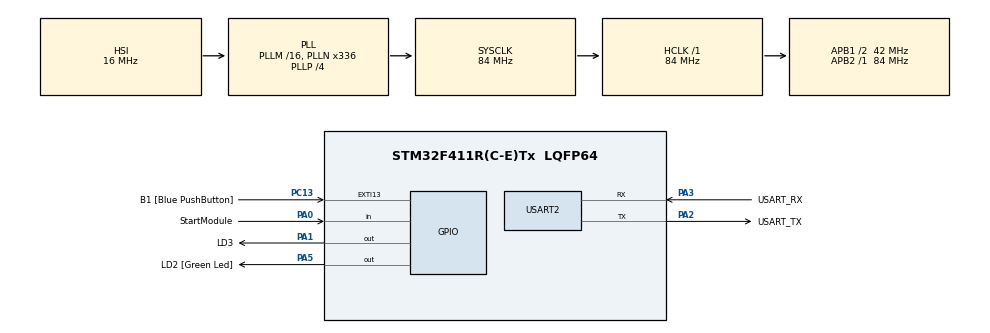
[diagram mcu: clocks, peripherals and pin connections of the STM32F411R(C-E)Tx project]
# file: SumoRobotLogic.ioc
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Mcu.Family=STM32F4
Mcu.Name=STM32F411R(C-E)Tx
Mcu.Package=LQFP64
NVIC.PriorityGroup=NVIC_PRIORITYGROUP_0
PA0-WKUP.GPIO_Label=StartModule
PA0-WKUP.GPIO_PuPd=GPIO_PULLDOWN
PA0-WKUP.Signal=GPIO_Input
PA1.GPIO_Label=LD3
PA1.GPIO_PuPd=GPIO_NOPULL
PA1.Signal=GPIO_Output
PA13.GPIO_Label=TMS
PA13.Mode=Serial_Wire
PA13.Signal=SYS_JTMS-SWDIO
PA14.GPIO_Label=TCK
PA14.Mode=Serial_Wire
PA14.Signal=SYS_JTCK-SWCLK
PA2.GPIO_Label=USART_TX
PA2.Mode=Asynchronous
PA2.Signal=USART2_TX
PA3.GPIO_Label=USART_RX
PA3.Mode=Asynchronous
PA3.Signal=USART2_RX
PA5.GPIO_Label=LD2 [Green Led]
PA5.Signal=GPIO_Output
PB3.GPIO_Label=SWO
PB3.Signal=SYS_JTDO-SWO
PC13-ANTI_TAMP.GPIO_Label=B1 [Blue PushButton]
PC13-ANTI_TAMP.GPIO_ModeDefaultEXTI=GPIO_MODE_IT_FALLING
PC13-ANTI_TAMP.Signal=GPXTI13
PC14-OSC32_IN.Mode=LSE-External-Oscillator
PC14-OSC32_IN.Signal=RCC_OSC32_IN
PC15-OSC32_OUT.Mode=LSE-External-Oscillator
PC15-OSC32_OUT.Signal=RCC_OSC32_OUT
PH0\ -\ OSC_IN.Mode=HSE-External-Clock-Source
PH0\ -\ OSC_IN.Signal=RCC_OSC_IN
PH1\ -\ OSC_OUT.Mode=HSE-External-Clock-Source
PH1\ -\ OSC_OUT.Signal=RCC_OSC_OUT
ProjectManager.HeapSize=0x200
ProjectManager.StackSize=0x400
ProjectManager.TargetToolchain=STM32CubeIDE
RCC.48MHZClocksFreq_Value=84000000
RCC.AHBFreq_Value=84000000
RCC.APB1CLKDivider=RCC_HCLK_DIV2
RCC.APB1Freq_Value=42000000
RCC.APB1TimFreq_Value=84000000
RCC.APB2Freq_Value=84000000
RCC.APB2TimFreq_Value=84000000
RCC.CortexFreq_Value=84000000
RCC.FLatency-AdvancedSettings=FLASH_LATENCY_2
RCC.HCLKFreq_Value=84000000
RCC.HSE_VALUE=8000000
RCC.HSI_VALUE=16000000
RCC.PLLN=336
RCC.PLLP=RCC_PLLP_DIV4
RCC.SYSCLKFreq_VALUE=84000000
RCC.SYSCLKSource=RCC_SYSCLKSOURCE_PLLCLK
RCC.VCOOutputFreq_Value=336000000
USART2.VirtualMode=VM_ASYNC
board=NUCLEO-F411RE

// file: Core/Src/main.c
/* USER CODE BEGIN Header */
/**
  ******************************************************************************
  * @file           : main.c
  * @brief          : Main program body
  ******************************************************************************
  * @attention
  *
  * Copyright (c) 2026 STMicroelectronics.
  * All rights reserved.
  *
  * This software is licensed under terms that can be found in the LICENSE file
  * in the root directory of this software component.
  * If no LICENSE file comes with this software, it is provided AS-IS.
  *
  ******************************************************************************
  */
/* USER CODE END Header */
#include "main.h"
#include "usart.h"
#include "gpio.h"

/* USER CODE BEGIN Includes */
#include <StartModule.h>
/* USER CODE END Includes */

/* USER CODE BEGIN PV */
StartModule_t StartModule;
uint32_t TimerDebounce = 5000;
/* USER CODE END PV */

void SystemClock_Config(void);
/* USER CODE BEGIN PFP */
void TurnGreenLedOn();
void TurnRedLedOn();
void TurnLedOff();
/* USER CODE END PFP */

int main(void)
{

  /* MCU Configuration--------------------------------------------------------*/

  /* Reset of all peripherals, Initializes the Flash interface and the Systick. */
  HAL_Init();

  /* USER CODE BEGIN Init */
  StartModule_Init(&StartModule, StartModule_GPIO_Port, StartModule_Pin, TimerDebounce);
  StartModule_StartCallback(&StartModule, TurnRedLedOn);
  StartModule_ReturnToStopCallback(&StartModule, TurnLedOff);
  /* USER CODE END Init */

  /* Configure the system clock */
  SystemClock_Config();

  /* Initialize all configured peripherals */
  MX_GPIO_Init();
  MX_USART2_UART_Init();

  /* Infinite loop */
  /* USER CODE BEGIN WHILE */
  while (1)
  {
	  //HAL_GPIO_ReadPin(GPIOx, GPIO_Pin)
	 StartModule_Task(&StartModule);
	 if(StartModule.State == MODULE_COUNTDOWN)
	 {
		 TurnGreenLedOn();
	 }
    /* USER CODE END WHILE */

  }
}

void SystemClock_Config(void)
{
  RCC_OscInitTypeDef RCC_OscInitStruct = {0};
  RCC_ClkInitTypeDef RCC_ClkInitStruct = {0};

  /** Configure the main internal regulator output voltage
  */
  __HAL_RCC_PWR_CLK_ENABLE();
  __HAL_PWR_VOLTAGESCALING_CONFIG(PWR_REGULATOR_VOLTAGE_SCALE1);

  /** Initializes the RCC Oscillators according to the specified parameters
  * in the RCC_OscInitTypeDef structure.
  */
  RCC_OscInitStruct.OscillatorType = RCC_OSCILLATORTYPE_HSI;
  RCC_OscInitStruct.HSIState = RCC_HSI_ON;
  RCC_OscInitStruct.HSICalibrationValue = RCC_HSICALIBRATION_DEFAULT;
  RCC_OscInitStruct.PLL.PLLState = RCC_PLL_ON;
  RCC_OscInitStruct.PLL.PLLSource = RCC_PLLSOURCE_HSI;
  RCC_OscInitStruct.PLL.PLLM = 16;
  RCC_OscInitStruct.PLL.PLLN = 336;
  RCC_OscInitStruct.PLL.PLLP = RCC_PLLP_DIV4;
  RCC_OscInitStruct.PLL.PLLQ = 4;
  if (HAL_RCC_OscConfig(&RCC_OscInitStruct) != HAL_OK)
  {
    Error_Handler();
  }

  /** Initializes the CPU, AHB and APB buses clocks
  */
  RCC_ClkInitStruct.ClockType = RCC_CLOCKTYPE_HCLK|RCC_CLOCKTYPE_SYSCLK
                              |RCC_CLOCKTYPE_PCLK1|RCC_CLOCKTYPE_PCLK2;
  RCC_ClkInitStruct.SYSCLKSource = RCC_SYSCLKSOURCE_PLLCLK;
  RCC_ClkInitStruct.AHBCLKDivider = RCC_SYSCLK_DIV1;
  RCC_ClkInitStruct.APB1CLKDivider = RCC_HCLK_DIV2;
  RCC_ClkInitStruct.APB2CLKDivider = RCC_HCLK_DIV1;

  if (HAL_RCC_ClockConfig(&RCC_ClkInitStruct, FLASH_LATENCY_2) != HAL_OK)
  {
    Error_Handler();
  }
}

/* USER CODE BEGIN 4 */
void TurnGreenLedOn()
{
	//Turn led on
	HAL_GPIO_WritePin(LD2_GPIO_Port, LD2_Pin, GPIO_PIN_SET);
}
void TurnRedLedOn()
{
	//Turn led on
	HAL_GPIO_WritePin(LD3_GPIO_Port, LD3_Pin, GPIO_PIN_RESET);
}
void TurnLedOff()
{
	HAL_GPIO_WritePin(LD2_GPIO_Port, LD2_Pin, GPIO_PIN_RESET);
	HAL_GPIO_WritePin(LD3_GPIO_Port, LD3_Pin, GPIO_PIN_SET);
}

/* USER CODE END 4 */

void Error_Handler(void)
{
  __disable_irq();
  while (1)
  {
  }
}
